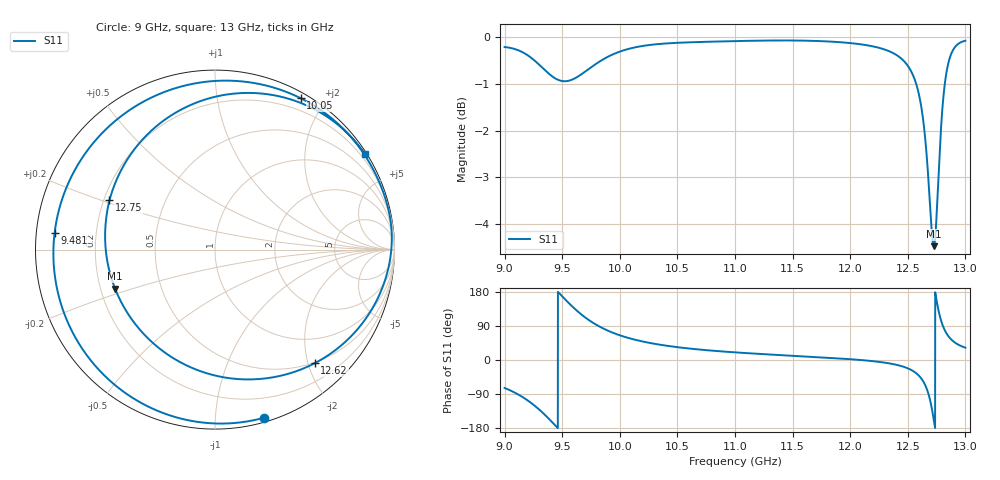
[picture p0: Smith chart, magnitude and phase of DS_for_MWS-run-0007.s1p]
! TOUCHSTONE file generated by CST DESIGN STUDIO
! Date and time: Tue Feb  4 16:48:26 2025
! Project name: C:\Work\MatlabApps\UnitCellOptimizationMatlab\CST\unitcell.cst
! Tree item: Tasks\Sweep1\SPara1\S-Parameters
! Header version: 2024
! Port assignment regex: !\s*Touchstone port\s*([0-9]+)\s*=\s*(CST MWS port|CST DES external port|CST DES block port)\s*(.+)\s* \(\"(.*)\"\)(\s*mode\s*([0-9]+))?.*
! Touchstone port assignment:
! Touchstone port 1 = CST DES external port 1 ("")
# GHz S MA R 50
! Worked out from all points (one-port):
!   4001 points, 9 GHz to 13 GHz, reference 50 ohm
!   lowest |S11| = -4.5 dB at 12.73 GHz (marker M1), VSWR 3.97, Z = 13 - j8.83 ohm
!   |S11| at or under -10 dB: nowhere
!   S11 on the Smith chart (normalised r, x): 9 GHz: 0.03, -1.33; 9.481 GHz: 0.05, +0.05; 10.05 GHz: 0.06, +1.72; 12.62 GHz: 0.49, -2.12; 12.75 GHz: 0.22, +0.21; 13 GHz: 0.06, +3.44
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9  0.9757 -73.8
9.145  0.9648 -95.7
9.254  0.9452 -118.9
9.381  0.9145 -154.1
9.481  0.8985 174.1
9.5  0.8974 168.0
9.608  0.9032 135.4
9.711  0.9207 109.7
9.831  0.9426 87.1
10  0.9648 65.2
10.049  0.9692 60.4
10.5  0.9859 33.8
11  0.9901 20.1
11.5  0.9915 11.2
12  0.9853 2.2
12.31  0.9687 -7.4
12.5  0.9317 -22.0
12.617  0.8425 -48.7
12.65  0.7817 -65.5
12.682  0.695 -92.2
12.704  0.6297 -120.6
12.726  0.5977 -158.6
12.751  0.6492 154.9
12.783  0.7789 110.2
12.816  0.8799 81.8
12.85  0.9357 63.8
12.889  0.9666 50.8
13  0.9909 32.4
